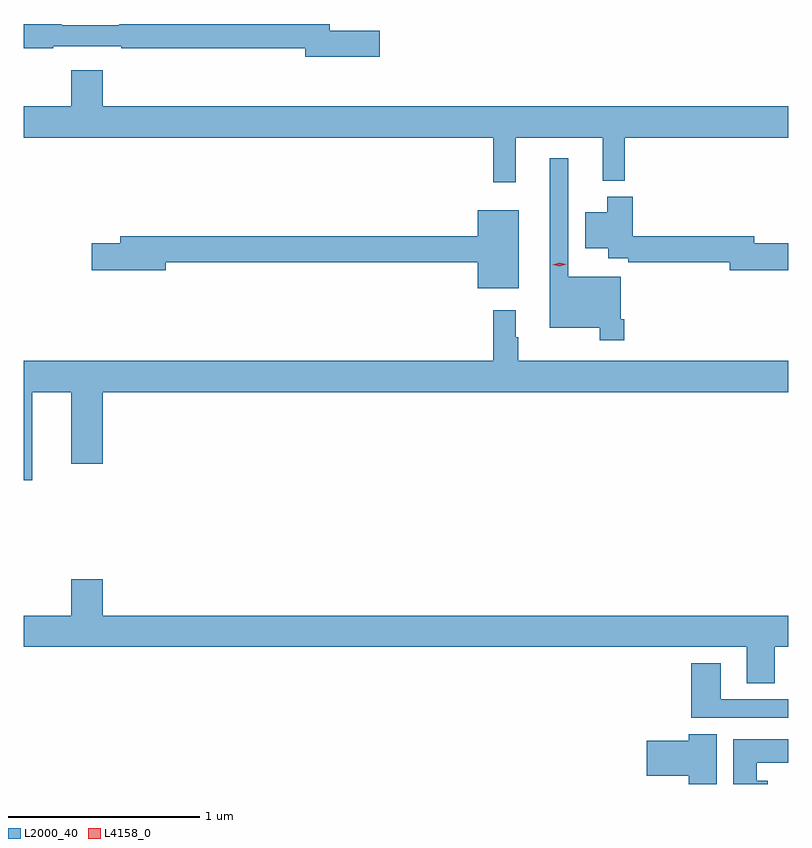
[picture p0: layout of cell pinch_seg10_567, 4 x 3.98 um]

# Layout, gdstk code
import gdstk
lib = gdstk.Library(unit=1e-6, precision=1e-09)
def P(c, l, *ps):  # polygons
    for p in ps: c.add(gdstk.Polygon(p, *l))
L2000_40 = (2000, 40)
L4158_0 = (4158, 0)

pinch_seg10_567 = lib.new_cell('pinch_seg10_567')
P(pinch_seg10_567, L2000_40, [(298.489,1275.566),(298.228,1275.566),(298.228,1275.602),(297.125,1275.602),(297.125,1275.595),(296.825,1275.595),(296.825,1275.602),(296.626,1275.602),(296.626,1275.474),(296.78,1275.474),(296.78,1275.486),(297.136,1275.486),(297.136,1275.474),(298.1,1275.474),(298.1,1275.431),(298.489,1275.431)],
  [(299.201,1275.008),(299.654,1275.008),(299.654,1274.783),(299.771,1274.783),(299.771,1275.008),(300.626,1275.008),(300.626,1275.172),(297.04,1275.172),(297.04,1275.361),(296.876,1275.361),(296.876,1275.172),(296.626,1275.172),(296.626,1275.008),(299.083,1275.008),(299.083,1274.775),(299.201,1274.775)],
  [(299.768,1274.059),(299.748,1274.059),(299.748,1274.281),(299.475,1274.281),(299.475,1274.899),(299.378,1274.899),(299.378,1274.012),(299.64,1274.012),(299.64,1273.947),(299.768,1273.947)],
  [(300.626,1274.456),(300.448,1274.456),(300.448,1274.492),(299.813,1274.492),(299.813,1274.698),(299.678,1274.698),(299.678,1274.617),(299.564,1274.617),(299.564,1274.429),(299.684,1274.429),(299.684,1274.376),(299.788,1274.376),(299.788,1274.356),(300.32,1274.356),(300.32,1274.314),(300.626,1274.314)],
  [(299.215,1274.629),(299,1274.629),(299,1274.492),(297.131,1274.492),(297.131,1274.456),(296.982,1274.456),(296.982,1274.314),(297.37,1274.314),(297.37,1274.356),(299,1274.356),(299,1274.219),(299.215,1274.219)],
  [(296.626,1273.215),(296.671,1273.215),(296.671,1273.676),(296.876,1273.676),(296.876,1273.302),(297.04,1273.302),(297.04,1273.676),(300.626,1273.676),(300.626,1273.84),(299.212,1273.84),(299.212,1273.964),(299.2,1273.964),(299.2,1274.104),(299.083,1274.104),(299.083,1273.84),(296.626,1273.84)],
  [(300.555,1272.344),(300.626,1272.344),(300.626,1272.508),(297.04,1272.508),(297.04,1272.697),(296.876,1272.697),(296.876,1272.508),(296.626,1272.508),(296.626,1272.344),(300.407,1272.344),(300.407,1272.154),(300.555,1272.154)],
  [(300.626,1272.069),(300.271,1272.069),(300.271,1272.259),(300.119,1272.259),(300.119,1271.973),(300.626,1271.973)],
  [(300.25,1271.888),(300.104,1271.888),(300.104,1271.852),(299.886,1271.852),(299.886,1271.669),(300.104,1271.669),(300.104,1271.627),(300.25,1271.627)],
  [(300.517,1271.644),(300.46,1271.644),(300.46,1271.738),(300.625,1271.738),(300.625,1271.86),(300.338,1271.86),(300.338,1271.627),(300.517,1271.627)])
P(pinch_seg10_567, L4158_0, [(299.429,1274.334),(299.393,1274.342),(299.393,1274.342),(299.393,1274.342),(299.428,1274.354),(299.464,1274.346),(299.465,1274.346),(299.464,1274.346)])

lib.write_gds('pinch_seg10_567.gds')
